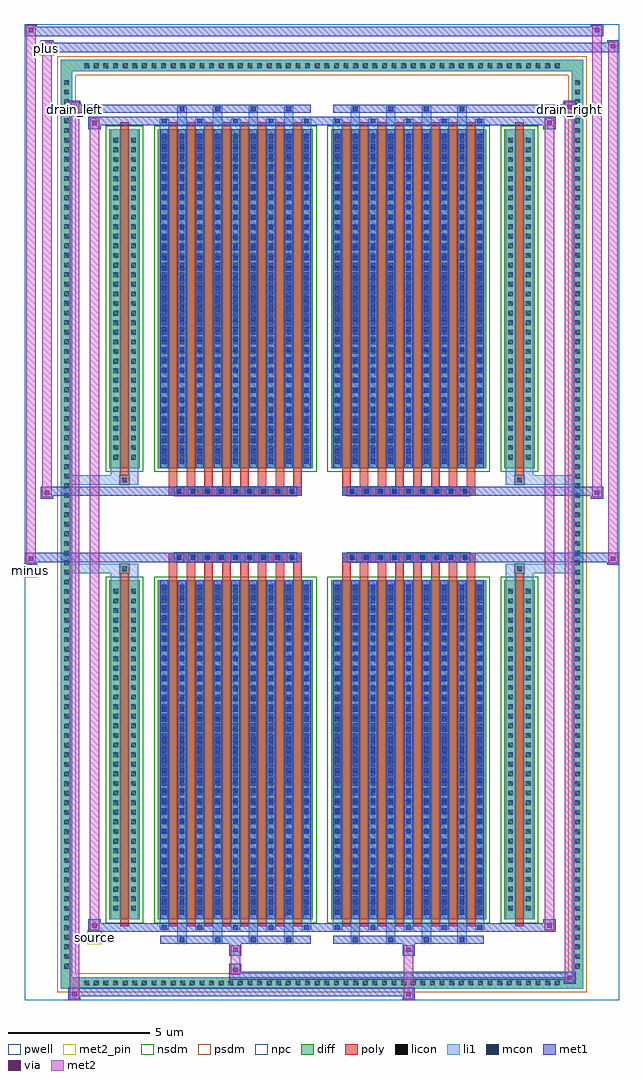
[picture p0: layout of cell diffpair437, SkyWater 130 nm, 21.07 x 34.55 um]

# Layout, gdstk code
import gdstk
lib = gdstk.Library(unit=1e-6, precision=5e-09)
def R(c, l, rs):  # rectangles x0, y0, x1, y1
    for r in rs: c.add(gdstk.rectangle(r[:2], r[2:], *l))
def A(c, l, x, y, w, h, nx, ny, dx, dy):  # array of equal rectangles
    R(c, l, [(x+i*dx, y+j*dy, x+i*dx+w, y+j*dy+h) for i in range(nx) for j in range(ny)])
def P(c, l, *ps):  # polygons
    for p in ps: c.add(gdstk.Polygon(p, *l))
pwell = (64, 44)
diff = (65, 20)
poly = (66, 20)
licon = (66, 44)
li1 = (67, 20)
mcon = (67, 44)
met1 = (68, 20)
via = (68, 44)
met2_pin = (69, 16)
met2 = (69, 20)
nsdm = (93, 44)
psdm = (94, 20)
npc = (95, 20)

diffpair437 = lib.new_cell('diffpair437')
R(diffpair437, pwell, [(-10.52,-16.84,10.52,17.71), (-7.84,-15.03,-0.01,-0.805), (0.01,-15.03,7.84,-0.805), (-7.84,0.805,-0.01,15.03), (0.01,0.805,7.84,15.03)])
A(diffpair437, diff, -8.535, -16.44, 0.41, 0.41, 50, 2, 0.34, 32.47)
A(diffpair437, diff, -9.25, -15.845, 0.41, 0.41, 1, 93, 0, 0.34)
A(diffpair437, diff, 8.84, -15.845, 0.41, 0.41, 1, 93, 0, 0.34)
R(diffpair437, diff, [(-8.535,-16.44,8.535,-16.03), (-9.25,-15.845,-8.84,15.845), (8.84,-15.845,9.25,15.845), (-7.53,-13.985,-6.45,-1.985), (-5.81,-13.985,-0.32,-1.985), (0.32,-13.985,5.81,-1.985), (6.45,-13.985,7.53,-1.985), (-7.53,1.985,-6.45,13.985), (-5.81,1.985,-0.32,13.985), (0.32,1.985,5.81,13.985), (6.45,1.985,7.53,13.985), (-8.535,16.03,8.535,16.44)])
P(diffpair437, diff, [(9.25,16.44),(-9.25,16.44),(-9.25,-16.03),(-8.84,-16.03),(-8.84,16.03),(8.84,16.03),(8.84,-16.03),(-8.84,-16.03),(-9.25,-16.03),(-9.25,-16.44),(9.25,-16.44)])
A(diffpair437, poly, -5.42, -14.235, 0.3, 12.5, 8, 2, 0.63, 15.97)
A(diffpair437, poly, 0.71, -14.235, 0.3, 12.5, 8, 2, 0.63, 15.97)
A(diffpair437, poly, -5.42, -1.735, 0.3, 0.4, 8, 2, 0.63, 3.07)
A(diffpair437, poly, 0.71, -1.735, 0.3, 0.4, 8, 2, 0.63, 3.07)
A(diffpair437, poly, -5.23, -1.335, 0.33, 0.33, 9, 2, 0.5, 2.34)
A(diffpair437, poly, 0.9, -1.335, 0.33, 0.33, 9, 2, 0.5, 2.34)
R(diffpair437, poly, [(-7.14,-14.235,-6.84,-1.735), (6.84,-14.235,7.14,-1.735), (-7.155,-1.735,-6.825,-1.405), (-7.155,-1.735,-6.825,-1.405), (6.825,-1.735,7.155,-1.405), (6.825,-1.735,7.155,-1.405), (-5.42,-1.335,-0.71,-1.005), (0.71,-1.335,5.42,-1.005), (-5.42,1.005,-0.71,1.335), (0.71,1.005,5.42,1.335), (-7.155,1.405,-6.825,1.735), (-7.155,1.405,-6.825,1.735), (6.825,1.405,7.155,1.735), (6.825,1.405,7.155,1.735), (-7.14,1.735,-6.84,14.235), (6.84,1.735,7.14,14.235)])
A(diffpair437, licon, -8.415, -16.32, 0.17, 0.17, 50, 2, 0.34, 32.47)
A(diffpair437, licon, -9.13, -15.725, 0.17, 0.17, 1, 93, 0, 0.34)
A(diffpair437, licon, 8.96, -15.725, 0.17, 0.17, 1, 93, 0, 0.34)
A(diffpair437, licon, -7.39, -13.68, 0.17, 0.17, 1, 34, 0, 0.34)
A(diffpair437, licon, -6.76, -13.68, 0.17, 0.17, 1, 34, 0, 0.34)
A(diffpair437, licon, -5.67, -13.68, 0.17, 0.17, 9, 34, 0.63, 0.34)
A(diffpair437, licon, 0.46, -13.68, 0.17, 0.17, 9, 34, 0.63, 0.34)
A(diffpair437, licon, 6.59, -13.68, 0.17, 0.17, 1, 34, 0, 0.34)
A(diffpair437, licon, 7.22, -13.68, 0.17, 0.17, 1, 34, 0, 0.34)
A(diffpair437, licon, -5.15, -1.255, 0.17, 0.17, 9, 2, 0.5, 2.34)
A(diffpair437, licon, 0.98, -1.255, 0.17, 0.17, 9, 2, 0.5, 2.34)
A(diffpair437, licon, -7.39, 2.29, 0.17, 0.17, 1, 34, 0, 0.34)
A(diffpair437, licon, -6.76, 2.29, 0.17, 0.17, 1, 34, 0, 0.34)
A(diffpair437, licon, -5.67, 2.29, 0.17, 0.17, 9, 34, 0.63, 0.34)
A(diffpair437, licon, 0.46, 2.29, 0.17, 0.17, 9, 34, 0.63, 0.34)
A(diffpair437, licon, 6.59, 2.29, 0.17, 0.17, 1, 34, 0, 0.34)
A(diffpair437, licon, 7.22, 2.29, 0.17, 0.17, 1, 34, 0, 0.34)
R(diffpair437, licon, [(-7.075,-1.655,-6.905,-1.485), (6.905,-1.655,7.075,-1.485), (-7.075,1.485,-6.905,1.655), (6.905,1.485,7.075,1.655)])
A(diffpair437, li1, -8.495, -16.4, 0.33, 0.33, 50, 2, 0.34, 32.47)
A(diffpair437, li1, -9.21, -15.805, 0.33, 0.33, 1, 93, 0, 0.34)
A(diffpair437, li1, 8.88, -15.805, 0.33, 0.33, 1, 93, 0, 0.34)
A(diffpair437, li1, -5.12, -14.79, 0.33, 0.805, 4, 2, 1.26, 28.775)
A(diffpair437, li1, -5.04, -14.79, 0.17, 0.17, 4, 2, 1.26, 29.41)
A(diffpair437, li1, 1.01, -14.79, 0.33, 0.805, 4, 2, 1.26, 28.775)
A(diffpair437, li1, 1.09, -14.79, 0.17, 0.17, 4, 2, 1.26, 29.41)
A(diffpair437, li1, -5.75, -14.36, 0.33, 0.375, 5, 2, 1.26, 28.345)
A(diffpair437, li1, -5.67, -14.36, 0.17, 0.17, 5, 2, 1.26, 28.55)
A(diffpair437, li1, 0.38, -14.36, 0.33, 0.375, 5, 2, 1.26, 28.345)
A(diffpair437, li1, 0.46, -14.36, 0.17, 0.17, 5, 2, 1.26, 28.55)
A(diffpair437, li1, -5.75, -13.985, 0.33, 12, 9, 2, 0.63, 15.97)
A(diffpair437, li1, 0.38, -13.985, 0.33, 12, 9, 2, 0.63, 15.97)
A(diffpair437, li1, -5.67, -13.83, 0.17, 0.17, 9, 33, 0.63, 0.36)
A(diffpair437, li1, -5.67, -13.83, 0.17, 11.69, 9, 2, 0.63, 15.97)
A(diffpair437, li1, 0.46, -13.83, 0.17, 0.17, 9, 33, 0.63, 0.36)
A(diffpair437, li1, 0.46, -13.83, 0.17, 11.69, 9, 2, 0.63, 15.97)
A(diffpair437, li1, -7.47, -13.76, 0.33, 0.33, 1, 34, 0, 0.34)
A(diffpair437, li1, -6.84, -13.76, 0.33, 0.33, 1, 34, 0, 0.34)
A(diffpair437, li1, -5.75, -13.76, 0.33, 0.33, 9, 34, 0.63, 0.34)
A(diffpair437, li1, 0.38, -13.76, 0.33, 0.33, 9, 34, 0.63, 0.34)
A(diffpair437, li1, 6.51, -13.76, 0.33, 0.33, 1, 34, 0, 0.34)
A(diffpair437, li1, 7.14, -13.76, 0.33, 0.33, 1, 34, 0, 0.34)
A(diffpair437, li1, -5.23, -1.335, 0.33, 0.33, 9, 2, 0.5, 2.34)
A(diffpair437, li1, 0.9, -1.335, 0.33, 0.33, 9, 2, 0.5, 2.34)
A(diffpair437, li1, -5.67, 2.14, 0.17, 0.17, 9, 33, 0.63, 0.36)
A(diffpair437, li1, 0.46, 2.14, 0.17, 0.17, 9, 33, 0.63, 0.36)
A(diffpair437, li1, -7.47, 2.21, 0.33, 0.33, 1, 34, 0, 0.34)
A(diffpair437, li1, -6.84, 2.21, 0.33, 0.33, 1, 34, 0, 0.34)
A(diffpair437, li1, -5.75, 2.21, 0.33, 0.33, 9, 34, 0.63, 0.34)
A(diffpair437, li1, 0.38, 2.21, 0.33, 0.33, 9, 34, 0.63, 0.34)
A(diffpair437, li1, 6.51, 2.21, 0.33, 0.33, 1, 34, 0, 0.34)
A(diffpair437, li1, 7.14, 2.21, 0.33, 0.33, 1, 34, 0, 0.34)
R(diffpair437, li1, [(-9.25,-16.44,-8.84,-16.03), (-9.25,-16.44,-8.84,-16.03), (-8.84,-16.44,8.84,-16.03), (8.84,-16.44,9.25,-16.03), (8.84,-16.44,9.25,-16.03), (-9.25,-16.03,-8.84,16.03), (8.84,-16.03,9.25,16.03), (-7.47,-13.985,-7.14,-1.985), (-6.84,-13.985,-6.51,-1.985), (6.51,-13.985,6.84,-1.985), (7.14,-13.985,7.47,-1.985), (-7.47,-1.985,-7.14,-1.405), (-6.84,-1.985,-6.51,-1.405), (6.51,-1.985,6.84,-1.405), (7.14,-1.985,7.47,-1.405), (-9.25,-1.735,-7.155,-1.405), (-7.47,-1.735,-7.155,-1.405), (-7.155,-1.735,-6.825,-1.405), (-6.825,-1.735,-6.51,-1.405), (6.51,-1.735,6.825,-1.405), (6.825,-1.735,7.155,-1.405), (6.825,-1.735,9.25,-1.405), (7.155,-1.735,7.47,-1.405), (-9.25,1.405,-7.155,1.735), (-7.47,1.405,-7.155,1.735), (-7.47,1.405,-7.14,1.985), (-7.155,1.405,-6.825,1.735), (-6.84,1.405,-6.51,1.985), (-6.825,1.405,-6.51,1.735), (6.51,1.405,6.825,1.735), (6.51,1.405,6.84,1.985), (6.825,1.405,7.155,1.735), (6.825,1.405,9.25,1.735), (7.14,1.405,7.47,1.985), (7.155,1.405,7.47,1.735), (-7.47,1.985,-7.14,13.985), (-6.84,1.985,-6.51,13.985), (6.51,1.985,6.84,13.985), (7.14,1.985,7.47,13.985), (-9.25,16.03,-8.84,16.44), (-9.25,16.03,-8.84,16.44), (-8.84,16.03,8.84,16.44), (8.84,16.03,9.25,16.44), (8.84,16.03,9.25,16.44)])
A(diffpair437, mcon, -5.04, -14.79, 0.17, 0.17, 4, 2, 1.26, 29.41)
A(diffpair437, mcon, 1.09, -14.79, 0.17, 0.17, 4, 2, 1.26, 29.41)
A(diffpair437, mcon, -5.67, -14.36, 0.17, 0.17, 5, 2, 1.26, 28.55)
A(diffpair437, mcon, 0.46, -14.36, 0.17, 0.17, 5, 2, 1.26, 28.55)
A(diffpair437, mcon, -5.67, -13.83, 0.17, 0.17, 9, 33, 0.63, 0.36)
A(diffpair437, mcon, 0.46, -13.83, 0.17, 0.17, 9, 33, 0.63, 0.36)
A(diffpair437, mcon, -5.15, -1.255, 0.17, 0.17, 9, 2, 0.5, 2.34)
A(diffpair437, mcon, 0.98, -1.255, 0.17, 0.17, 9, 2, 0.5, 2.34)
A(diffpair437, mcon, -5.67, 2.14, 0.17, 0.17, 9, 33, 0.63, 0.36)
A(diffpair437, mcon, 0.46, 2.14, 0.17, 0.17, 9, 33, 0.63, 0.36)
A(diffpair437, met1, -5.1, -14.85, 0.29, 0.29, 4, 2, 1.26, 29.41)
A(diffpair437, met1, 1.03, -14.85, 0.29, 0.29, 4, 2, 1.26, 29.41)
A(diffpair437, met1, -5.73, -14.42, 0.29, 0.29, 5, 2, 1.26, 28.55)
A(diffpair437, met1, 0.4, -14.42, 0.29, 0.29, 5, 2, 1.26, 28.55)
A(diffpair437, met1, -5.73, -13.985, 0.29, 12, 9, 2, 0.63, 15.97)
A(diffpair437, met1, 0.4, -13.985, 0.29, 12, 9, 2, 0.63, 15.97)
A(diffpair437, met1, -5.73, -13.89, 0.29, 0.29, 9, 33, 0.63, 0.36)
A(diffpair437, met1, 0.4, -13.89, 0.29, 0.29, 9, 33, 0.63, 0.36)
A(diffpair437, met1, -5.21, -1.315, 0.29, 0.29, 9, 2, 0.5, 2.34)
A(diffpair437, met1, 0.92, -1.315, 0.29, 0.29, 9, 2, 0.5, 2.34)
A(diffpair437, met1, -5.73, 2.08, 0.29, 0.29, 9, 33, 0.63, 0.36)
A(diffpair437, met1, 0.4, 2.08, 0.29, 0.29, 9, 33, 0.63, 0.36)
R(diffpair437, met1, [(-8.98,-16.84,-8.55,-16.41), (2.85,-16.84,3.28,-16.41), (-8.98,-16.7,3.28,-16.41), (8.55,-16.27,8.98,-15.84), (-3.28,-16.13,8.98,-15.84), (-3.28,-15.99,-2.85,-15.56), (-3.28,-15.28,-2.85,-14.85), (2.85,-15.28,3.28,-14.85), (-5.73,-14.85,-0.4,-14.56), (0.4,-14.85,5.73,-14.56), (-8.27,-14.42,-7.84,-13.99), (-8.27,-14.42,-5.73,-14.13), (-5.73,-14.42,-0.4,-14.13), (-0.4,-14.42,0.4,-14.13), (0.4,-14.42,5.73,-14.13), (5.73,-14.42,8.27,-14.13), (7.84,-14.42,8.27,-13.99), (-10.52,-1.435,-10.09,-1.005), (10.09,-1.435,10.52,-1.005), (-10.52,-1.335,-0.71,-1.005), (-5.42,-1.335,-0.71,-1.005), (0.71,-1.335,5.42,-1.005), (0.71,-1.335,10.52,-1.005), (-9.95,0.905,-9.52,1.335), (9.52,0.905,9.95,1.335), (-9.95,1.005,-5.42,1.335), (-5.42,1.005,-0.71,1.335), (0.71,1.005,5.42,1.335), (5.42,1.005,9.95,1.335), (-8.27,13.99,-7.84,14.42), (7.84,13.99,8.27,14.42), (-8.27,14.13,-5.73,14.42), (-5.73,14.13,-0.4,14.42), (-0.4,14.13,0.4,14.42), (0.4,14.13,5.73,14.42), (5.73,14.13,8.27,14.42), (-8.98,14.56,-8.55,14.99), (-8.98,14.56,-5.73,14.85), (-5.73,14.56,-0.4,14.85), (0.4,14.56,5.73,14.85), (5.73,14.56,8.98,14.85), (8.55,14.56,8.98,14.99), (-9.95,16.71,-9.52,17.14), (-9.95,16.71,-7.84,17.04), (-7.84,16.71,7.84,17.04), (7.84,16.71,10.52,17.04), (10.09,16.71,10.52,17.14), (-10.52,17.28,-10.09,17.71), (-10.52,17.28,-7.84,17.61), (-7.84,17.28,7.84,17.61), (7.84,17.28,9.95,17.61), (9.52,17.28,9.95,17.71)])
R(diffpair437, via, [(-8.84,-16.7,-8.69,-16.55), (2.99,-16.7,3.14,-16.55), (8.69,-16.13,8.84,-15.98), (-3.14,-15.85,-2.99,-15.7), (-3.14,-15.14,-2.99,-14.99), (2.99,-15.14,3.14,-14.99), (-8.13,-14.28,-7.98,-14.13), (7.98,-14.28,8.13,-14.13), (-10.38,-1.295,-10.23,-1.145), (10.23,-1.295,10.38,-1.145), (-9.81,1.045,-9.66,1.195), (9.66,1.045,9.81,1.195), (-8.13,14.13,-7.98,14.28), (7.98,14.13,8.13,14.28), (-8.84,14.7,-8.69,14.85), (8.69,14.7,8.84,14.85), (-9.81,16.85,-9.66,17), (10.23,16.85,10.38,17), (-10.38,17.42,-10.23,17.57), (9.66,17.42,9.81,17.57)])
R(diffpair437, met2_pin, [(-8.305,-14.87,-7.805,-14.37), (-10.555,-1.885,-10.055,-1.385), (-9.015,14.44,-8.515,14.94), (8.515,14.44,9.015,14.94), (-9.985,16.59,-9.485,17.09)])
R(diffpair437, met2, [(-8.93,-16.79,-8.6,-16.46), (-8.93,-16.79,-8.6,14.94), (2.9,-16.79,3.23,-16.46), (2.9,-16.46,3.23,-15.23), (8.6,-16.22,8.93,-15.89), (8.6,-16.22,8.93,14.94), (-3.23,-15.94,-2.9,-15.61), (-3.23,-15.61,-2.9,-15.23), (-3.23,-15.23,-2.9,-14.9), (2.9,-15.23,3.23,-14.9), (-8.22,-14.37,-7.89,-14.04), (-8.22,-14.37,-7.89,14.37), (7.89,-14.37,8.22,-14.04), (7.89,-14.37,8.22,14.37), (-10.47,-1.385,-10.14,-1.055), (-10.47,-1.385,-10.14,17.66), (10.14,-1.385,10.47,-1.055), (10.14,-1.385,10.47,17.09), (-9.9,0.955,-9.57,1.285), (-9.9,0.955,-9.57,17.09), (9.57,0.955,9.9,1.285), (9.57,0.955,9.9,17.66), (-8.22,14.04,-7.89,14.37), (7.89,14.04,8.22,14.37), (-8.93,14.61,-8.6,14.94), (8.6,14.61,8.93,14.94), (-9.9,16.76,-9.57,17.09), (10.14,16.76,10.47,17.09), (-10.47,17.33,-10.14,17.66), (9.57,17.33,9.9,17.66)])
P(diffpair437, met2, [(10.47,-1.385),(10.47,-1.385),(10.47,-1.055),(10.47,-1.055)],
  [(10.47,16.76),(10.47,16.76),(10.47,17.09),(10.47,17.09)],
  [(-10.14,-1.385),(-10.14,-1.385),(-10.14,-1.055),(-10.14,-1.055)],
  [(-10.14,17.33),(-10.14,17.33),(-10.14,17.66),(-10.14,17.66)],
  [(9.9,0.955),(9.9,0.955),(9.9,1.285),(9.9,1.285)],
  [(9.9,17.33),(9.9,17.33),(9.9,17.66),(9.9,17.66)],
  [(-9.57,0.955),(-9.57,0.955),(-9.57,1.285),(-9.57,1.285)],
  [(-9.57,16.76),(-9.57,16.76),(-9.57,17.09),(-9.57,17.09)],
  [(-8.6,-16.79),(-8.6,-16.79),(-8.6,-16.46),(-8.6,-16.46)],
  [(-8.6,14.61),(-8.6,14.61),(-8.6,14.94),(-8.6,14.94)],
  [(8.93,-16.22),(8.93,-16.22),(8.93,-15.89),(8.93,-15.89)],
  [(8.93,14.61),(8.93,14.61),(8.93,14.94),(8.93,14.94)],
  [(-7.89,-14.37),(-7.89,-14.37),(-7.89,-14.04),(-7.89,-14.04)],
  [(-7.89,14.04),(-7.89,14.04),(-7.89,14.37),(-7.89,14.37)],
  [(8.22,-14.37),(8.22,-14.37),(8.22,-14.04),(8.22,-14.04)],
  [(8.22,14.04),(8.22,14.04),(8.22,14.37),(8.22,14.37)])
R(diffpair437, nsdm, [(-7.66,-14.115,-6.32,-1.855), (-5.94,-14.115,-0.19,-1.855), (0.19,-14.115,5.94,-1.855), (6.32,-14.115,7.66,-1.855), (-7.66,1.855,-6.32,14.115), (-5.94,1.855,-0.19,14.115), (0.19,1.855,5.94,14.115), (6.32,1.855,7.66,14.115)])
P(diffpair437, psdm, [(9.38,16.57),(-9.38,16.57),(-9.38,-15.9),(-8.71,-15.9),(-8.71,15.9),(8.71,15.9),(8.71,-15.9),(-8.71,-15.9),(-9.38,-15.9),(-9.38,-16.57),(9.38,-16.57)])
A(diffpair437, npc, -5.25, -1.355, 0.37, 0.37, 9, 2, 0.5, 2.34)
A(diffpair437, npc, 0.88, -1.355, 0.37, 0.37, 9, 2, 0.5, 2.34)
R(diffpair437, npc, [(-7.175,-1.755,-6.805,-1.385), (6.805,-1.755,7.175,-1.385), (-5.25,-1.355,-4.38,-0.985), (-5.25,-1.355,-4.38,-0.985), (-4.75,-1.355,-3.88,-0.985), (-4.75,-1.355,-3.88,-0.985), (-4.25,-1.355,-3.38,-0.985), (-4.25,-1.355,-3.38,-0.985), (-3.75,-1.355,-2.88,-0.985), (-3.75,-1.355,-2.88,-0.985), (-3.25,-1.355,-2.38,-0.985), (-3.25,-1.355,-2.38,-0.985), (-2.75,-1.355,-1.88,-0.985), (-2.75,-1.355,-1.88,-0.985), (-2.25,-1.355,-1.38,-0.985), (-2.25,-1.355,-1.38,-0.985), (-1.75,-1.355,-0.88,-0.985), (-1.75,-1.355,-0.88,-0.985), (0.88,-1.355,1.75,-0.985), (0.88,-1.355,1.75,-0.985), (1.38,-1.355,2.25,-0.985), (1.38,-1.355,2.25,-0.985), (1.88,-1.355,2.75,-0.985), (1.88,-1.355,2.75,-0.985), (2.38,-1.355,3.25,-0.985), (2.38,-1.355,3.25,-0.985), (2.88,-1.355,3.75,-0.985), (2.88,-1.355,3.75,-0.985), (3.38,-1.355,4.25,-0.985), (3.38,-1.355,4.25,-0.985), (3.88,-1.355,4.75,-0.985), (3.88,-1.355,4.75,-0.985), (4.38,-1.355,5.25,-0.985), (4.38,-1.355,5.25,-0.985), (-5.25,0.985,-4.38,1.355), (-5.25,0.985,-4.38,1.355), (-4.75,0.985,-3.88,1.355), (-4.75,0.985,-3.88,1.355), (-4.25,0.985,-3.38,1.355), (-4.25,0.985,-3.38,1.355), (-3.75,0.985,-2.88,1.355), (-3.75,0.985,-2.88,1.355), (-3.25,0.985,-2.38,1.355), (-3.25,0.985,-2.38,1.355), (-2.75,0.985,-1.88,1.355), (-2.75,0.985,-1.88,1.355), (-2.25,0.985,-1.38,1.355), (-2.25,0.985,-1.38,1.355), (-1.75,0.985,-0.88,1.355), (-1.75,0.985,-0.88,1.355), (0.88,0.985,1.75,1.355), (0.88,0.985,1.75,1.355), (1.38,0.985,2.25,1.355), (1.38,0.985,2.25,1.355), (1.88,0.985,2.75,1.355), (1.88,0.985,2.75,1.355), (2.38,0.985,3.25,1.355), (2.38,0.985,3.25,1.355), (2.88,0.985,3.75,1.355), (2.88,0.985,3.75,1.355), (3.38,0.985,4.25,1.355), (3.38,0.985,4.25,1.355), (3.88,0.985,4.75,1.355), (3.88,0.985,4.75,1.355), (4.38,0.985,5.25,1.355), (4.38,0.985,5.25,1.355), (-7.175,1.385,-6.805,1.755), (6.805,1.385,7.175,1.755)])
diffpair437.add(gdstk.Label('minus', (-10.305,-1.635), layer=69, texttype=5))
diffpair437.add(gdstk.Label('drain_right', (8.765,14.69), layer=69, texttype=5))
diffpair437.add(gdstk.Label('drain_left', (-8.765,14.69), layer=69, texttype=5))
diffpair437.add(gdstk.Label('source', (-8.055,-14.62), layer=69, texttype=5))
diffpair437.add(gdstk.Label('plus', (-9.735,16.84), layer=69, texttype=5))

lib.write_gds('diffpair437.gds')
